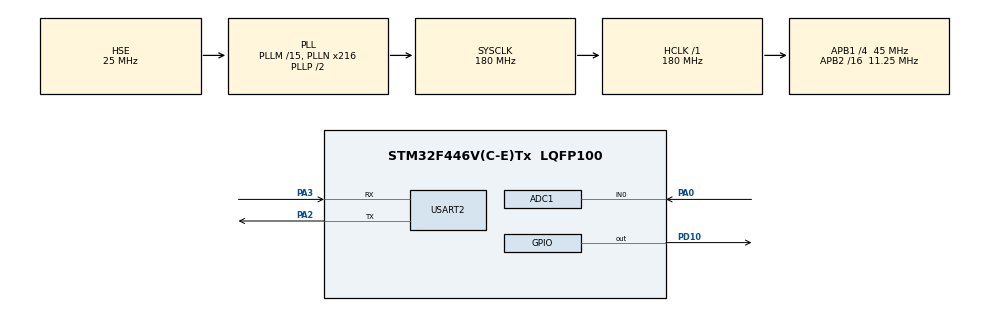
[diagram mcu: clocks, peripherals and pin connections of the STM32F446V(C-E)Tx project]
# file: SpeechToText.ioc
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ADC1.Channel-0\#ChannelRegularConversion=ADC_CHANNEL_0
ADC1.ClockPrescaler=ADC_CLOCK_SYNC_PCLK_DIV8
ADC1.ContinuousConvMode=ENABLE
ADC1.DMAContinuousRequests=ENABLE
ADC1.NbrOfConversion=1
ADC1.NbrOfConversionFlag=1
ADC1.Rank-0\#ChannelRegularConversion=1
ADC1.SamplingTime-0\#ChannelRegularConversion=ADC_SAMPLETIME_3CYCLES
ADC1.ScanConvMode=ENABLE
ADC1.master=1
Dma.ADC1.0.Direction=DMA_PERIPH_TO_MEMORY
Dma.ADC1.0.FIFOMode=DMA_FIFOMODE_DISABLE
Dma.ADC1.0.Instance=DMA2_Stream0
Dma.ADC1.0.MemDataAlignment=DMA_MDATAALIGN_HALFWORD
Dma.ADC1.0.MemInc=DMA_MINC_ENABLE
Dma.ADC1.0.Mode=DMA_CIRCULAR
Dma.ADC1.0.PeriphDataAlignment=DMA_PDATAALIGN_HALFWORD
Dma.ADC1.0.PeriphInc=DMA_PINC_DISABLE
Dma.ADC1.0.Priority=DMA_PRIORITY_LOW
Dma.Request0=ADC1
Dma.Request1=USART2_TX
Dma.USART2_TX.1.Direction=DMA_MEMORY_TO_PERIPH
Dma.USART2_TX.1.FIFOMode=DMA_FIFOMODE_DISABLE
Dma.USART2_TX.1.Instance=DMA1_Stream6
Dma.USART2_TX.1.MemDataAlignment=DMA_MDATAALIGN_BYTE
Dma.USART2_TX.1.MemInc=DMA_MINC_ENABLE
Dma.USART2_TX.1.Mode=DMA_CIRCULAR
Dma.USART2_TX.1.PeriphDataAlignment=DMA_PDATAALIGN_BYTE
Dma.USART2_TX.1.PeriphInc=DMA_PINC_DISABLE
Dma.USART2_TX.1.Priority=DMA_PRIORITY_LOW
Mcu.Family=STM32F4
Mcu.Name=STM32F446V(C-E)Tx
Mcu.Package=LQFP100
NVIC.DMA1_Stream6_IRQn=true\:0\:0\:false\:false\:true\:false\:true
NVIC.DMA2_Stream0_IRQn=true\:0\:0\:false\:false\:true\:false\:true
NVIC.PriorityGroup=NVIC_PRIORITYGROUP_4
PA0-WKUP.Signal=ADCx_IN0
PA13.Mode=Serial_Wire
PA13.Signal=SYS_JTMS-SWDIO
PA14.Mode=Serial_Wire
PA14.Signal=SYS_JTCK-SWCLK
PA2.Mode=Asynchronous
PA2.Signal=USART2_TX
PA3.Mode=Asynchronous
PA3.Signal=USART2_RX
PD10.Signal=GPIO_Output
PH0-OSC_IN.Mode=HSE-External-Oscillator
PH0-OSC_IN.Signal=RCC_OSC_IN
PH1-OSC_OUT.Mode=HSE-External-Oscillator
PH1-OSC_OUT.Signal=RCC_OSC_OUT
ProjectManager.HeapSize=0x200
ProjectManager.StackSize=0x400
ProjectManager.TargetToolchain=MDK-ARM V5.27
RCC.AHBFreq_Value=180000000
RCC.APB1CLKDivider=RCC_HCLK_DIV4
RCC.APB1Freq_Value=45000000
RCC.APB1TimFreq_Value=90000000
RCC.APB2CLKDivider=RCC_HCLK_DIV16
RCC.APB2Freq_Value=11250000
RCC.APB2TimFreq_Value=22500000
RCC.CortexFreq_Value=180000000
RCC.HCLKFreq_Value=180000000
RCC.PLLM=15
RCC.PLLN=216
RCC.PLLSourceVirtual=RCC_PLLSOURCE_HSE
RCC.SYSCLKFreq_VALUE=180000000
RCC.SYSCLKSource=RCC_SYSCLKSOURCE_PLLCLK
RCC.USBFreq_Value=180000000
RCC.VCOOutputFreq_Value=360000000
SH.ADCx_IN0.0=ADC1_IN0,IN0
USART2.VirtualMode=VM_ASYNC
board=custom

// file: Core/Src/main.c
/* USER CODE BEGIN Header */
/**
  ******************************************************************************
  * @file           : main.c
  * @brief          : Main program body
  ******************************************************************************
  * @attention
  *
  * <h2><center>&copy; Copyright (c) 2021 STMicroelectronics.
  * All rights reserved.</center></h2>
  *
  * This software component is licensed by ST under BSD 3-Clause license,
  * the "License"; You may not use this file except in compliance with the
  * License. You may obtain a copy of the License at:
  *                        opensource.org/licenses/BSD-3-Clause
  *
  ******************************************************************************
  */
/* USER CODE END Header */
#define __ARM_FEATURE_DSP 1
#include "main.h"
#include "adc.h"
#include "dma.h"
#include "usart.h"
#include "gpio.h"
#include "arm_math.h"

/* USER CODE BEGIN Includes */
#include "FormattedOutput.h"

//If the input buffer is of length N, the output buffer must have length 2*N.
//The input buffer is modified by this function.
#define DOUBLE_BUFFER_SIZE 2048
#define BUFFER_SIZE 1024
#define OUTPUT_BUFFER_SIZE 2048
#define SAMPLE_RATE 93750	//11.25MHz APB2
//1.44 = 12KHz
//11.25/

/* USER CODE END Includes */

void SystemClock_Config(void);

/* USER CODE BEGIN 0 */
	q15_t analogBuffer[DOUBLE_BUFFER_SIZE];
	q15_t fftOutput[OUTPUT_BUFFER_SIZE];
	uint16_t SMALLanalogBuffer[1];
	uint32_t hashTransmit;
	uint8_t hashBuffer[32];

void PrintArray_q15_t(q15_t* arrayIn, uint32_t arraySizeIn)
{
	uint8_t numberBuffer[5];
	for(int i=0; i<arraySizeIn; i++)
	{
		NumToStr_int16(arrayIn[i], numberBuffer, 5);
		HAL_UART_Transmit(&huart2,numberBuffer,digitCount_int16_t(arrayIn[i]),1000);
	}
}

uint32_t FreqHash(q15_t* fftOut)
{
	uint32_t hashOut=0;
	for(int i=1; i<OUTPUT_BUFFER_SIZE; ++i)
	{
		if(fftOut[i]>fftOut[i-1] && fftOut[i]>fftOut[i+1])
		{
			hashOut |= 1<<(i/65);
		}
	}
	return hashOut;
}

	volatile uint8_t txDoneFlag = 1;
uint8_t bootHeader[]="Booted";
uint8_t setSpacer[]={0x22,0x22};

//FFT Items
uint32_t ifftFlag = 0;
uint32_t doBitReverse = 1;
arm_rfft_instance_q15  varInstRfftQ15;
uint32_t timeMissed=0, tempTimeMissed=0;
  arm_status status = ARM_MATH_SUCCESS;
  float32_t maxValue;

void HAL_ADC_ConvHalfCpltCallback(ADC_HandleTypeDef* hadc)
{

  /* Process the data through the CFFT/CIFFT module */
	//perform the fft
  arm_rfft_q15(&varInstRfftQ15, analogBuffer, fftOutput);
	//transmit the fft

	//COMPUTE HASH
	hashTransmit = FreqHash(fftOutput);
	//TRANSMIT HASH

	NumToStr_uint32(hashTransmit,hashBuffer,32);
	HAL_UART_Transmit(&huart2,hashBuffer,digitCount_uint32_t(hashTransmit),1000);
	txDoneFlag = 0;
	//HAL_UART_Transmit_DMA(&huart2,(uint8_t *)fftOutput,sizeof(fftOutput));

	//START SECOND-HALF DMA
	HAL_ADC_Start_DMA(&hadc1,(uint32_t*)analogBuffer+BUFFER_SIZE,BUFFER_SIZE);

  //status=arm_rfft_32_fast_init_f32(&varInstCfftF32);
	//HAL_GPIO_WritePin(GPIOD, GPIO_PIN_10, GPIO_PIN_SET);
}
void HAL_ADC_ConvCpltCallback(ADC_HandleTypeDef* hadc)
{

	//perform the fft
  arm_rfft_q15(&varInstRfftQ15, analogBuffer+BUFFER_SIZE, fftOutput);
	//transmit the fft

	//COMPUTE HASH
	hashTransmit = FreqHash(fftOutput);
	//TRANSMIT HASH

	NumToStr_uint32(hashTransmit,hashBuffer,32);
	HAL_UART_Transmit(&huart2,hashBuffer,digitCount_uint32_t(hashTransmit),1000);
	txDoneFlag = 0;
	//HAL_UART_Transmit_DMA(&huart2,(uint8_t *)fftOutput,sizeof(fftOutput));

	//START SECOND-HALF DMA
	HAL_ADC_Start_DMA(&hadc1,(uint32_t*)analogBuffer,BUFFER_SIZE);

	/*
	tempTimeMissed=0;
	while(txDoneFlag == 0)
	{
		tempTimeMissed++;
		HAL_Delay(10);
	}
	timeMissed = tempTimeMissed;
	txDoneFlag = 0;
	*/

  //status=arm_rfft_32_fast_init_f32(&varInstCfftF32);
	HAL_GPIO_WritePin(GPIOD, GPIO_PIN_10, GPIO_PIN_RESET);
}

void HAL_UART_TxCpltCallback(UART_HandleTypeDef *huart){
    txDoneFlag = 1;
}

/* USER CODE END 0 */

int main(void)
{

  /* MCU Configuration--------------------------------------------------------*/

  /* Reset of all peripherals, Initializes the Flash interface and the Systick. */
  HAL_Init();

  /* Configure the system clock */
  SystemClock_Config();

  /* Initialize all configured peripherals */
  MX_GPIO_Init();
  MX_DMA_Init();
  MX_ADC1_Init();
  MX_USART2_UART_Init();
	HAL_UART_Transmit(&huart2, bootHeader, sizeof(bootHeader),1000);
  status = arm_rfft_init_q15(&varInstRfftQ15,BUFFER_SIZE,0,1);

	HAL_ADC_Start_DMA(&hadc1,(uint32_t*)analogBuffer,BUFFER_SIZE);

  /* Infinite loop */
  while (1)
  {

  }
}

void SystemClock_Config(void)
{
  RCC_OscInitTypeDef RCC_OscInitStruct = {0};
  RCC_ClkInitTypeDef RCC_ClkInitStruct = {0};

  /** Configure the main internal regulator output voltage
  */
  __HAL_RCC_PWR_CLK_ENABLE();
  __HAL_PWR_VOLTAGESCALING_CONFIG(PWR_REGULATOR_VOLTAGE_SCALE1);
  /** Initializes the RCC Oscillators according to the specified parameters
  * in the RCC_OscInitTypeDef structure.
  */
  RCC_OscInitStruct.OscillatorType = RCC_OSCILLATORTYPE_HSE;
  RCC_OscInitStruct.HSEState = RCC_HSE_ON;
  RCC_OscInitStruct.PLL.PLLState = RCC_PLL_ON;
  RCC_OscInitStruct.PLL.PLLSource = RCC_PLLSOURCE_HSE;
  RCC_OscInitStruct.PLL.PLLM = 15;
  RCC_OscInitStruct.PLL.PLLN = 216;
  RCC_OscInitStruct.PLL.PLLP = RCC_PLLP_DIV2;
  RCC_OscInitStruct.PLL.PLLQ = 2;
  RCC_OscInitStruct.PLL.PLLR = 2;
  if (HAL_RCC_OscConfig(&RCC_OscInitStruct) != HAL_OK)
  {
    Error_Handler();
  }
  /** Activate the Over-Drive mode
  */
  if (HAL_PWREx_EnableOverDrive() != HAL_OK)
  {
    Error_Handler();
  }
  /** Initializes the CPU, AHB and APB buses clocks
  */
  RCC_ClkInitStruct.ClockType = RCC_CLOCKTYPE_HCLK|RCC_CLOCKTYPE_SYSCLK
                              |RCC_CLOCKTYPE_PCLK1|RCC_CLOCKTYPE_PCLK2;
  RCC_ClkInitStruct.SYSCLKSource = RCC_SYSCLKSOURCE_PLLCLK;
  RCC_ClkInitStruct.AHBCLKDivider = RCC_SYSCLK_DIV1;
  RCC_ClkInitStruct.APB1CLKDivider = RCC_HCLK_DIV4;
  RCC_ClkInitStruct.APB2CLKDivider = RCC_HCLK_DIV16;

  if (HAL_RCC_ClockConfig(&RCC_ClkInitStruct, FLASH_LATENCY_5) != HAL_OK)
  {
    Error_Handler();
  }
}

void Error_Handler(void)
{
  __disable_irq();
  while (1)
  {
  }
}

/************************ (C) COPYRIGHT STMicroelectronics *****END OF FILE****/
